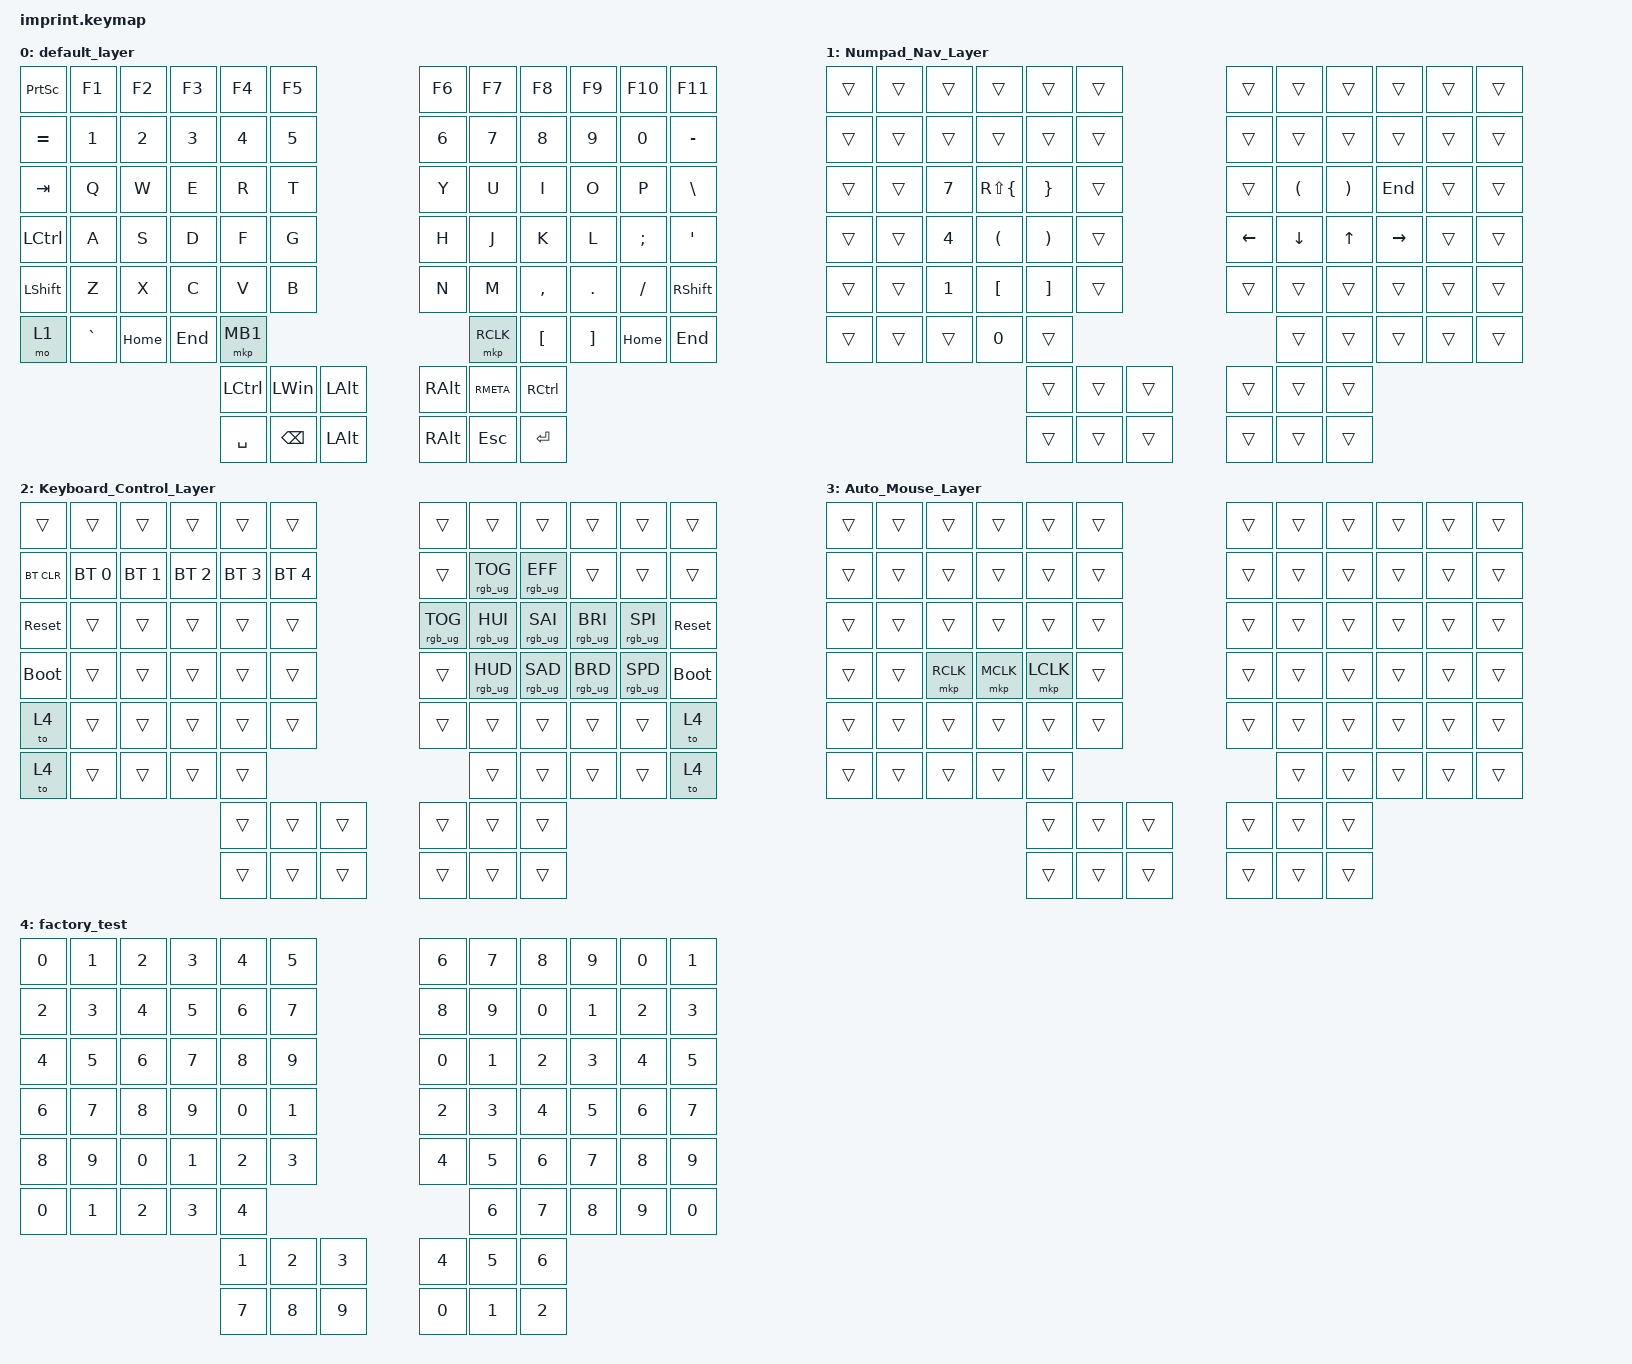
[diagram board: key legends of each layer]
#include <input/processors.dtsi>
#include <dt-bindings/zmk/input_transform.h>
#include <behaviors.dtsi>
#include <dt-bindings/zmk/bt.h>
#include <dt-bindings/zmk/keys.h>
#include <dt-bindings/zmk/pointing.h>
#include <dt-bindings/zmk/rgb.h>

/ {
    chosen { zmk,matrix-transform = &imprint_function_row_full_bottom_row; };

    keymap {
        compatible = "zmk,keymap";

        default_layer {
            bindings = <
&kp PRINTSCREEN  &kp F1     &kp F2    &kp F3   &kp F4     &kp F5                        &kp F6         &kp F7      &kp F8     &kp F9    &kp F10   &kp F11
&kp EQUAL        &kp N1     &kp N2    &kp N3   &kp N4     &kp N5                        &kp N6         &kp N7      &kp N8     &kp N9    &kp N0    &kp MINUS
&kp TAB          &kp Q      &kp W     &kp E    &kp R      &kp T                         &kp Y          &kp U       &kp I      &kp O     &kp P     &kp BSLH
&kp LCTRL        &kp A      &kp S     &kp D    &kp F      &kp G                         &kp H          &kp J       &kp K      &kp L     &kp SEMI  &kp SQT
&kp LSHFT        &kp Z      &kp X     &kp C    &kp V      &kp B                         &kp N          &kp M       &kp COMMA  &kp DOT   &kp FSLH  &kp RSHFT
&mo 1            &kp GRAVE  &kp HOME  &kp END  &mkp MB1                                                &mkp RCLK   &kp LBKT   &kp RBKT  &kp HOME  &kp END
                                               &kp LCTRL  &kp LEFT_WIN  &kp LEFT_ALT    &kp RIGHT_ALT  &kp RMETA   &kp RCTRL
                                               &kp SPACE  &kp BSPC      &kp LEFT_ALT    &kp RIGHT_ALT  &kp ESCAPE  &kp RET
            >;
        };

        Numpad_Nav_Layer {
            bindings = <
&trans  &trans  &trans  &trans                &trans                 &trans            &trans    &trans                &trans                 &trans     &trans  &trans
&trans  &trans  &trans  &trans                &trans                 &trans            &trans    &trans                &trans                 &trans     &trans  &trans
&trans  &trans  &kp N7  &kp RS(LEFT_BRACE)    &kp RIGHT_BRACE        &trans            &trans    &kp LEFT_PARENTHESIS  &kp RIGHT_PARENTHESIS  &kp END    &trans  &trans
&trans  &trans  &kp N4  &kp LEFT_PARENTHESIS  &kp RIGHT_PARENTHESIS  &trans            &kp LEFT  &kp DOWN              &kp UP_ARROW           &kp RIGHT  &trans  &trans
&trans  &trans  &kp N1  &kp LEFT_BRACKET      &kp RIGHT_BRACKET      &trans            &trans    &trans                &trans                 &trans     &trans  &trans
&trans  &trans  &trans  &kp N0                &trans                                             &trans                &trans                 &trans     &trans  &trans
                                              &trans                 &trans  &trans    &trans    &trans                &trans
                                              &trans                 &trans  &trans    &trans    &trans                &trans
            >;
        };

        Keyboard_Control_Layer {
            bindings = <
&trans       &trans        &trans        &trans        &trans        &trans                  &trans           &trans           &trans           &trans           &trans           &trans
&bt BT_CLR   &bt BT_SEL 0  &bt BT_SEL 1  &bt BT_SEL 2  &bt BT_SEL 3  &bt BT_SEL 4            &trans           &rgb_ug RGB_TOG  &rgb_ug RGB_EFF  &trans           &trans           &trans
&sys_reset   &trans        &trans        &trans        &trans        &trans                  &rgb_ug RGB_TOG  &rgb_ug RGB_HUI  &rgb_ug RGB_SAI  &rgb_ug RGB_BRI  &rgb_ug RGB_SPI  &sys_reset
&bootloader  &trans        &trans        &trans        &trans        &trans                  &trans           &rgb_ug RGB_HUD  &rgb_ug RGB_SAD  &rgb_ug RGB_BRD  &rgb_ug RGB_SPD  &bootloader
&to 4        &trans        &trans        &trans        &trans        &trans                  &trans           &trans           &trans           &trans           &trans           &to 4
&to 4        &trans        &trans        &trans        &trans                                                 &trans           &trans           &trans           &trans           &to 4
                                                       &trans        &trans        &trans    &trans           &trans           &trans
                                                       &trans        &trans        &trans    &trans           &trans           &trans
            >;
        };

        Auto_Mouse_Layer {
            bindings = <
&trans  &trans  &trans     &trans     &trans     &trans            &trans  &trans  &trans  &trans  &trans  &trans
&trans  &trans  &trans     &trans     &trans     &trans            &trans  &trans  &trans  &trans  &trans  &trans
&trans  &trans  &trans     &trans     &trans     &trans            &trans  &trans  &trans  &trans  &trans  &trans
&trans  &trans  &mkp RCLK  &mkp MCLK  &mkp LCLK  &trans            &trans  &trans  &trans  &trans  &trans  &trans
&trans  &trans  &trans     &trans     &trans     &trans            &trans  &trans  &trans  &trans  &trans  &trans
&trans  &trans  &trans     &trans     &trans                               &trans  &trans  &trans  &trans  &trans
                                      &trans     &trans  &trans    &trans  &trans  &trans
                                      &trans     &trans  &trans    &trans  &trans  &trans
            >;
        };

        factory_test {
            bindings = <
&kp N0  &kp N1  &kp N2  &kp N3  &kp N4  &kp N5            &kp N6  &kp N7  &kp N8  &kp N9  &kp N0  &kp N1
&kp N2  &kp N3  &kp N4  &kp N5  &kp N6  &kp N7            &kp N8  &kp N9  &kp N0  &kp N1  &kp N2  &kp N3
&kp N4  &kp N5  &kp N6  &kp N7  &kp N8  &kp N9            &kp N0  &kp N1  &kp N2  &kp N3  &kp N4  &kp N5
&kp N6  &kp N7  &kp N8  &kp N9  &kp N0  &kp N1            &kp N2  &kp N3  &kp N4  &kp N5  &kp N6  &kp N7
&kp N8  &kp N9  &kp N0  &kp N1  &kp N2  &kp N3            &kp N4  &kp N5  &kp N6  &kp N7  &kp N8  &kp N9
&kp N0  &kp N1  &kp N2  &kp N3  &kp N4                            &kp N6  &kp N7  &kp N8  &kp N9  &kp N0
                                &kp N1  &kp N2  &kp N3    &kp N4  &kp N5  &kp N6
                                &kp N7  &kp N8  &kp N9    &kp N0  &kp N1  &kp N2
            >;
        };
    };
};

// right hand trackball configuration
// &trackball_peripheral_listener {
//    input-processors =
//     activate layer 3 within 500ms of the trackball moving
//     <&zip_temp_layer 3 500>;
// };
//left hand trackball configuration

&trackball_central_listener {
    input-processors =
        // multiply sensitivity by 1, divide by 3 (make it slower for scrolling),,,,,,
        <&zip_xy_scaler 1 3>,
        // make this trackball output scrolling events by default instead of cursor movement,,,,,,
        <&zip_xy_to_scroll_mapper>,
        // invert vertical scrolling so that the view moves in the same direction as the top of the trackball.,,,,,,
        <&zip_scroll_transform INPUT_TRANSFORM_Y_INVERT>;
};
